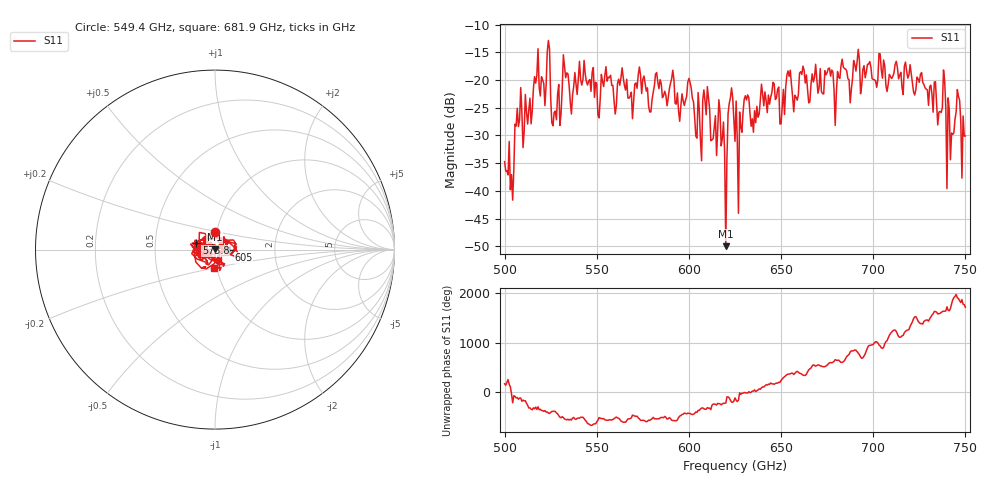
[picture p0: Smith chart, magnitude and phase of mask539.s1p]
!Created with skrf (http://scikit-rf.org).
# GHz S MA R 50.0
!freq magS11 angS11
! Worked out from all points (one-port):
!   401 points, 500 GHz to 750 GHz, reference 50 ohm
!   lowest |S11| = -50.0 dB at 620 GHz (marker M1), VSWR 1.01, Z = 49.7 + j0.182 ohm
!   |S11| at or under -10 dB: start of sweep to end of sweep
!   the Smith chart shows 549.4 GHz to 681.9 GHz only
!   S11 on the Smith chart (normalised r, x): 549.4 GHz: 0.99, +0.19; 573.8 GHz: 0.81, +0.06; 605 GHz: 1.17, -0.00; 681.9 GHz: 0.97, -0.20
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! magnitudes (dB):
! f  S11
! 500 GHz  -34.7
! 503.8 GHz  -37.1
! 507.5 GHz  -28.4
! 513.8 GHz  -23.3
! 516.9 GHz  -20.6
! 523.8 GHz  -12.8
! 526.9 GHz  -25.9
! 531.2 GHz  -21.6
! 549.4 GHz  -20.4
! 562.5 GHz  -20.9
! 568.8 GHz  -22.2
! 573.8 GHz  -19.1
! 593.8 GHz  -22.3
! 600.6 GHz  -20.4
! 605 GHz  -22.2
! 609.4 GHz  -26.3
! 620 GHz  -50.0
! 622.5 GHz  -23.2
! 625 GHz  -31.1
! 627.5 GHz  -25.8
! 631.2 GHz  -23.6
! 635 GHz  -29.4
! 656.2 GHz  -23.0
! 681.9 GHz  -19.7
! 687.5 GHz  -24.1
! 718.8 GHz  -19.7
! 741.2 GHz  -25.3
! 750 GHz  -30.1
